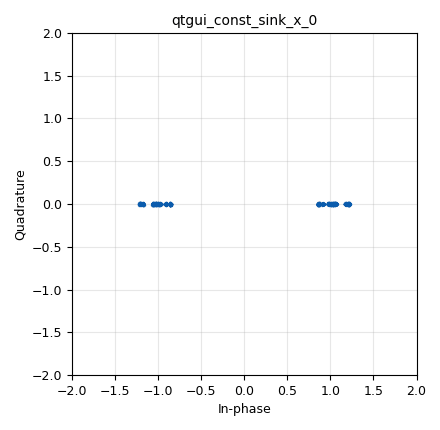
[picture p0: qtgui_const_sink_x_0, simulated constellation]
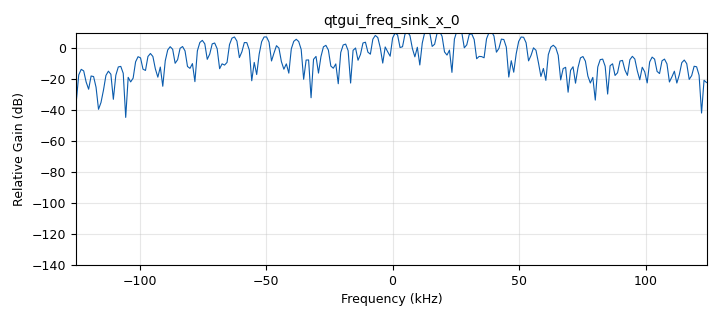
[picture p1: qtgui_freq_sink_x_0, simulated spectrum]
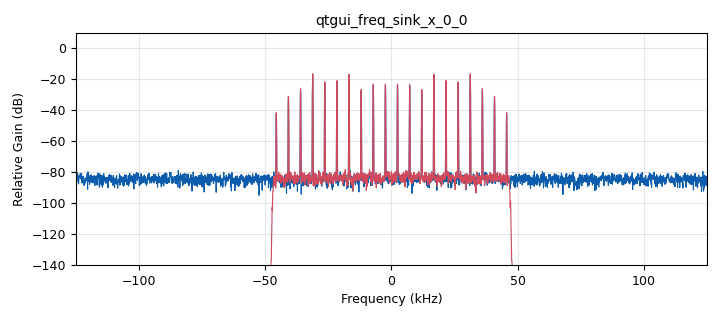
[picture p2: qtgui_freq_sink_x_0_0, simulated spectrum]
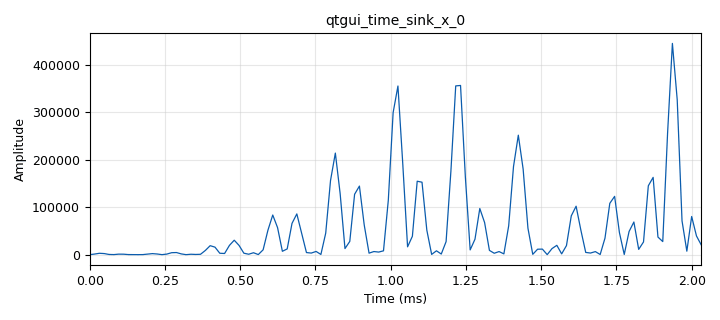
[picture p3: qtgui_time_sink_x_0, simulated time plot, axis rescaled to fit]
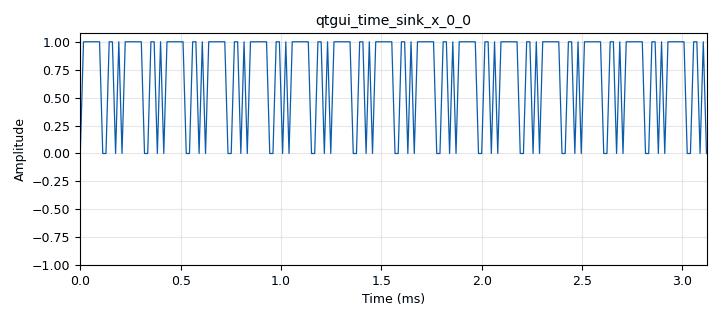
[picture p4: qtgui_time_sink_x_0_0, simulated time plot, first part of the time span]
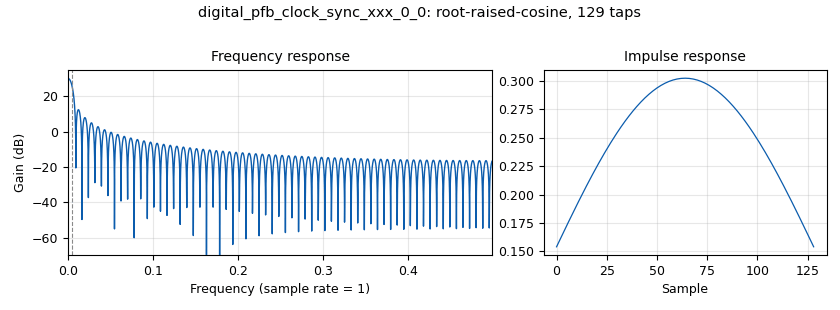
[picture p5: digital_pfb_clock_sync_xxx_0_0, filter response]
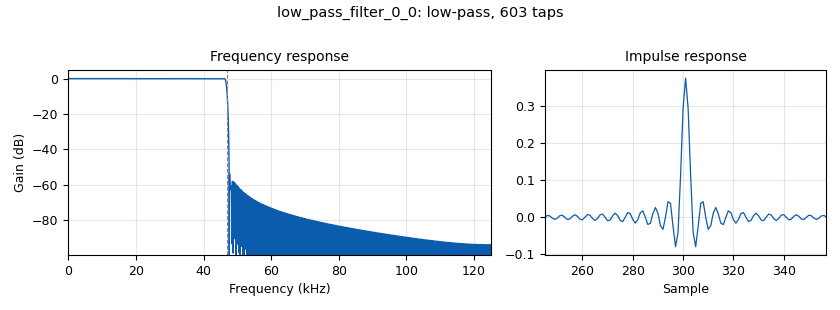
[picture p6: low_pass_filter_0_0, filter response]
<?xml version='1.0' encoding='utf-8'?>
<?grc format='1' created='3.7.12'?>
<flow_graph>
<block>
<key>options</key>
<param><key>id</key><value>barker_burst1</value></param>
<param><key>generate_options</key><value>qt_gui</value></param>
</block>
<block>
<key>variable</key>
<param><key>id</key><value>alpha</value></param>
<param><key>value</key><value>0.5</value></param>
</block>
<block>
<key>variable</key>
<param><key>id</key><value>b11</value></param>
<param><key>value</key><value>(1,1,1,-1,-1,-1,1,-1,-1,1,-1)</value></param>
</block>
<block>
<key>variable</key>
<param><key>id</key><value>b13</value></param>
<param><key>value</key><value>[1,1,1,1,1,-1,-1,1,1,-1,1,-1,1]</value></param>
</block>
<block>
<key>variable</key>
<param><key>id</key><value>b13_0</value></param>
<param><key>_enabled</key><value>0</value></param>
<param><key>value</key><value>[1,1,1,1,1,0,0,1,1,0,1,0,1]</value></param>
</block>
<block>
<key>variable</key>
<param><key>id</key><value>b2_1</value></param>
<param><key>value</key><value>(1,-1)</value></param>
</block>
<block>
<key>variable</key>
<param><key>id</key><value>b2_2</value></param>
<param><key>value</key><value>(1,1)</value></param>
</block>
<block>
<key>variable</key>
<param><key>id</key><value>b3</value></param>
<param><key>value</key><value>(1,1,-1)</value></param>
</block>
<block>
<key>variable</key>
<param><key>id</key><value>b4_1</value></param>
<param><key>value</key><value>(1,1,-1,1)</value></param>
</block>
<block>
<key>variable</key>
<param><key>id</key><value>b4_2</value></param>
<param><key>value</key><value>(1,1,1,-1)</value></param>
</block>
<block>
<key>variable</key>
<param><key>id</key><value>b5</value></param>
<param><key>value</key><value>(1,1,1,-1,1)</value></param>
</block>
<block>
<key>variable</key>
<param><key>id</key><value>b7</value></param>
<param><key>value</key><value>(1,1,1,-1,-1,1,-1)</value></param>
</block>
<block>
<key>variable</key>
<param><key>id</key><value>baud</value></param>
<param><key>value</key><value>samp_rate/samp_per_symb</value></param>
</block>
<block>
<key>variable_qtgui_entry</key>
<param><key>id</key><value>chan_delay</value></param>
<param><key>value</key><value>0</value></param>
<param><key>type</key><value>int</value></param>
</block>
<block>
<key>variable_qtgui_range</key>
<param><key>id</key><value>delay</value></param>
<param><key>value</key><value>0</value></param>
<param><key>orient</key><value>Qt.Horizontal</value></param>
<param><key>start</key><value>0</value></param>
<param><key>step</key><value>1</value></param>
<param><key>stop</key><value>10000</value></param>
<param><key>rangeType</key><value>int</value></param>
</block>
<block>
<key>variable</key>
<param><key>id</key><value>fft_size</value></param>
<param><key>value</key><value>256</value></param>
</block>
<block>
<key>variable_qtgui_range</key>
<param><key>id</key><value>noise_amp</value></param>
<param><key>value</key><value>0.01</value></param>
<param><key>orient</key><value>Qt.Horizontal</value></param>
<param><key>start</key><value>0</value></param>
<param><key>step</key><value>0.001</value></param>
<param><key>stop</key><value>1</value></param>
</block>
<block>
<key>variable_rrc_filter_taps</key>
<param><key>id</key><value>rrc_filter_taps</value></param>
<param><key>alpha</key><value>alpha</value></param>
<param><key>gain</key><value>32</value></param>
<param><key>ntaps</key><value>samp_per_symb*32</value></param>
<param><key>samp_rate</key><value>1.0</value></param>
<param><key>sym_rate</key><value>1.0/(samp_per_symb*32)</value></param>
</block>
<block>
<key>variable</key>
<param><key>id</key><value>samp_per_symb</value></param>
<param><key>value</key><value>4</value></param>
</block>
<block>
<key>variable</key>
<param><key>id</key><value>samp_rate</value></param>
<param><key>value</key><value>250e3</value></param>
</block>
<block>
<key>analog_agc2_xx</key>
<param><key>id</key><value>analog_agc2_xx_0_0</value></param>
<param><key>attack_rate</key><value>1e-3</value></param>
<param><key>decay_rate</key><value>1e-2</value></param>
<param><key>gain</key><value>1.0</value></param>
<param><key>max_gain</key><value>65536</value></param>
<param><key>reference</key><value>1.0</value></param>
<param><key>type</key><value>complex</value></param>
</block>
<block>
<key>analog_const_source_x</key>
<param><key>id</key><value>analog_const_source_x_0</value></param>
<param><key>const</key><value>0</value></param>
<param><key>_enabled</key><value>0</value></param>
<param><key>type</key><value>float</value></param>
</block>
<block>
<key>analog_const_source_x</key>
<param><key>id</key><value>analog_const_source_x_1</value></param>
<param><key>const</key><value>1</value></param>
<param><key>_enabled</key><value>0</value></param>
<param><key>type</key><value>short</value></param>
</block>
<block>
<key>analog_fastnoise_source_x</key>
<param><key>id</key><value>analog_fastnoise_source_x_0</value></param>
<param><key>amp</key><value>noise_amp</value></param>
<param><key>noise_type</key><value>analog.GR_GAUSSIAN</value></param>
<param><key>type</key><value>complex</value></param>
<param><key>seed</key><value>0</value></param>
<param><key>samples</key><value>8192</value></param>
</block>
<block>
<key>blocks_add_xx</key>
<param><key>id</key><value>blocks_add_xx_1</value></param>
<param><key>type</key><value>complex</value></param>
</block>
<block>
<key>blocks_argmax_xx</key>
<param><key>id</key><value>blocks_argmax_xx_0</value></param>
<param><key>_enabled</key><value>0</value></param>
<param><key>type</key><value>float</value></param>
<param><key>num_inputs</key><value>1</value></param>
<param><key>vlen</key><value>fft_size</value></param>
</block>
<block>
<key>blocks_char_to_float</key>
<param><key>id</key><value>blocks_char_to_float_0</value></param>
<param><key>scale</key><value>1</value></param>
</block>
<block>
<key>blocks_complex_to_mag_squared</key>
<param><key>id</key><value>blocks_complex_to_mag_squared_0</value></param>
</block>
<block>
<key>blocks_complex_to_mag_squared</key>
<param><key>id</key><value>blocks_complex_to_mag_squared_0_0</value></param>
<param><key>_enabled</key><value>0</value></param>
<param><key>vlen</key><value>fft_size</value></param>
</block>
<block>
<key>blocks_delay</key>
<param><key>id</key><value>blocks_delay_0</value></param>
<param><key>delay</key><value>chan_delay</value></param>
<param><key>type</key><value>complex</value></param>
</block>
<block>
<key>blocks_delay</key>
<param><key>id</key><value>blocks_delay_0_0</value></param>
<param><key>delay</key><value>delay</value></param>
<param><key>type</key><value>complex</value></param>
</block>
<block>
<key>blocks_float_to_complex</key>
<param><key>id</key><value>blocks_float_to_complex_0</value></param>
<param><key>_enabled</key><value>0</value></param>
</block>
<block>
<key>blocks_multiply_conjugate_cc</key>
<param><key>id</key><value>blocks_multiply_conjugate_cc_0</value></param>
<param><key>vlen</key><value>fft_size</value></param>
</block>
<block>
<key>blocks_multiply_const_vxx</key>
<param><key>id</key><value>blocks_multiply_const_vxx_1</value></param>
<param><key>const</key><value>1.0/(baud)</value></param>
<param><key>_enabled</key><value>0</value></param>
<param><key>type</key><value>float</value></param>
</block>
<block>
<key>blocks_null_sink</key>
<param><key>id</key><value>blocks_null_sink_0</value></param>
<param><key>bus_conns</key><value>[[0,],]</value></param>
<param><key>_enabled</key><value>0</value></param>
<param><key>type</key><value>short</value></param>
</block>
<block>
<key>blocks_pack_k_bits_bb</key>
<param><key>id</key><value>blocks_pack_k_bits_bb_0</value></param>
<param><key>k</key><value>8</value></param>
</block>
<block>
<key>blocks_short_to_float</key>
<param><key>id</key><value>blocks_short_to_float_0</value></param>
<param><key>scale</key><value>1</value></param>
</block>
<block>
<key>blocks_short_to_float</key>
<param><key>id</key><value>blocks_short_to_float_1</value></param>
<param><key>_enabled</key><value>0</value></param>
<param><key>scale</key><value>1</value></param>
</block>
<block>
<key>blocks_short_to_float</key>
<param><key>id</key><value>blocks_short_to_float_2</value></param>
<param><key>_enabled</key><value>0</value></param>
<param><key>scale</key><value>1</value></param>
</block>
<block>
<key>blocks_stream_mux</key>
<param><key>id</key><value>blocks_stream_mux_0</value></param>
<param><key>_enabled</key><value>0</value></param>
<param><key>lengths</key><value>1000, 13</value></param>
<param><key>type</key><value>short</value></param>
</block>
<block>
<key>blocks_stream_to_vector</key>
<param><key>id</key><value>blocks_stream_to_vector_0</value></param>
<param><key>type</key><value>complex</value></param>
<param><key>num_items</key><value>fft_size</value></param>
</block>
<block>
<key>blocks_stream_to_vector</key>
<param><key>id</key><value>blocks_stream_to_vector_0_0</value></param>
<param><key>type</key><value>complex</value></param>
<param><key>num_items</key><value>fft_size</value></param>
</block>
<block>
<key>blocks_threshold_ff</key>
<param><key>id</key><value>blocks_threshold_ff_0</value></param>
<param><key>_enabled</key><value>0</value></param>
<param><key>high</key><value>-1</value></param>
<param><key>init</key><value>0</value></param>
<param><key>low</key><value>-3</value></param>
</block>
<block>
<key>blocks_throttle</key>
<param><key>id</key><value>blocks_throttle_0</value></param>
<param><key>samples_per_second</key><value>samp_rate</value></param>
<param><key>type</key><value>short</value></param>
</block>
<block>
<key>blocks_vector_insert_x</key>
<param><key>id</key><value>blocks_vector_insert_x_0</value></param>
<param><key>_enabled</key><value>0</value></param>
<param><key>offset</key><value>0</value></param>
<param><key>type</key><value>short</value></param>
<param><key>period</key><value>1</value></param>
<param><key>vector</key><value>b13</value></param>
</block>
<block>
<key>blocks_vector_source_x</key>
<param><key>id</key><value>blocks_vector_source_x_0_0</value></param>
<param><key>_enabled</key><value>0</value></param>
<param><key>type</key><value>short</value></param>
<param><key>repeat</key><value>True</value></param>
<param><key>vector</key><value>b13</value></param>
</block>
<block>
<key>blocks_vector_source_x</key>
<param><key>id</key><value>blocks_vector_source_x_0_0_0</value></param>
<param><key>type</key><value>short</value></param>
<param><key>repeat</key><value>True</value></param>
<param><key>vector</key><value>b13</value></param>
</block>
<block>
<key>blocks_vector_to_stream</key>
<param><key>id</key><value>blocks_vector_to_stream_0_0</value></param>
<param><key>type</key><value>complex</value></param>
<param><key>num_items</key><value>fft_size</value></param>
</block>
<block>
<key>blocks_vector_to_stream</key>
<param><key>id</key><value>blocks_vector_to_stream_0_0_0</value></param>
<param><key>type</key><value>complex</value></param>
<param><key>num_items</key><value>fft_size</value></param>
</block>
<block>
<key>digital_binary_slicer_fb</key>
<param><key>id</key><value>digital_binary_slicer_fb_0</value></param>
</block>
<block>
<key>digital_binary_slicer_fb</key>
<param><key>id</key><value>digital_binary_slicer_fb_1</value></param>
<param><key>_enabled</key><value>0</value></param>
</block>
<block>
<key>digital_costas_loop_cc</key>
<param><key>id</key><value>digital_costas_loop_cc_0</value></param>
<param><key>w</key><value>math.pi*2/100</value></param>
<param><key>order</key><value>2</value></param>
</block>
<block>
<key>digital_costas_loop_cc</key>
<param><key>id</key><value>digital_costas_loop_cc_0_0</value></param>
<param><key>w</key><value>math.pi*2/100</value></param>
<param><key>order</key><value>2</value></param>
</block>
<block>
<key>digital_diff_decoder_bb</key>
<param><key>id</key><value>digital_diff_decoder_bb_0</value></param>
<param><key>_enabled</key><value>0</value></param>
<param><key>modulus</key><value>2</value></param>
</block>
<block>
<key>digital_dxpsk_mod</key>
<param><key>id</key><value>digital_dxpsk_mod_0</value></param>
<param><key>excess_bw</key><value>0.5</value></param>
<param><key>mod_code</key><value>"gray"</value></param>
<param><key>log</key><value>False</value></param>
<param><key>samples_per_symbol</key><value>samp_per_symb</value></param>
<param><key>type</key><value>dbpsk</value></param>
<param><key>verbose</key><value>False</value></param>
</block>
<block>
<key>digital_map_bb</key>
<param><key>id</key><value>digital_map_bb_0</value></param>
<param><key>_enabled</key><value>2</value></param>
<param><key>map</key><value>[-1,1]</value></param>
</block>
<block>
<key>digital_pfb_clock_sync_xxx</key>
<param><key>id</key><value>digital_pfb_clock_sync_xxx_0_0</value></param>
<param><key>filter_size</key><value>32</value></param>
<param><key>init_phase</key><value>16</value></param>
<param><key>loop_bw</key><value>math.pi*2/100</value></param>
<param><key>max_dev</key><value>1.5</value></param>
<param><key>osps</key><value>1</value></param>
<param><key>sps</key><value>samp_per_symb</value></param>
<param><key>taps</key><value>rrc_filter_taps</value></param>
<param><key>type</key><value>ccf</value></param>
</block>
<block>
<key>fft_vxx</key>
<param><key>id</key><value>fft_vxx_0</value></param>
<param><key>fft_size</key><value>fft_size</value></param>
<param><key>forward</key><value>True</value></param>
<param><key>type</key><value>complex</value></param>
<param><key>shift</key><value>True</value></param>
<param><key>window</key><value>window.blackmanharris(fft_size)</value></param>
</block>
<block>
<key>fft_vxx</key>
<param><key>id</key><value>fft_vxx_0_0</value></param>
<param><key>fft_size</key><value>fft_size</value></param>
<param><key>forward</key><value>True</value></param>
<param><key>type</key><value>complex</value></param>
<param><key>shift</key><value>True</value></param>
<param><key>window</key><value>window.blackmanharris(fft_size)</value></param>
</block>
<block>
<key>fft_vxx</key>
<param><key>id</key><value>fft_vxx_0_0_0</value></param>
<param><key>fft_size</key><value>fft_size</value></param>
<param><key>forward</key><value>True</value></param>
<param><key>type</key><value>complex</value></param>
<param><key>shift</key><value>False</value></param>
<param><key>window</key><value>window.blackmanharris(fft_size)</value></param>
</block>
<block>
<key>import</key>
<param><key>id</key><value>import_0_0</value></param>
<param><key>import</key><value>import pmt,struct,numpy,math ; from datetime import datetime as dt; import string</value></param>
</block>
<block>
<key>low_pass_filter</key>
<param><key>id</key><value>low_pass_filter_0_0</value></param>
<param><key>cutoff_freq</key><value>(baud *(1+alpha) )/2</value></param>
<param><key>decim</key><value>1</value></param>
<param><key>type</key><value>fir_filter_ccf</value></param>
<param><key>gain</key><value>1</value></param>
<param><key>samp_rate</key><value>samp_rate</value></param>
<param><key>width</key><value>1000</value></param>
<param><key>win</key><value>firdes.WIN_HAMMING</value></param>
</block>
<block>
<key>mapper_demapper_soft</key>
<param><key>id</key><value>mapper_demapper_soft_0</value></param>
<param><key>_enabled</key><value>0</value></param>
<param><key>modtype</key><value>mapper.BPSK</value></param>
<param><key>symbol_values</key><value>[0,1]</value></param>
</block>
<block>
<key>qtgui_const_sink_x</key>
<param><key>id</key><value>qtgui_const_sink_x_0</value></param>
<param><key>gui_hint</key><value>0,4,4,4</value></param>
<param><key>marker1</key><value>9</value></param>
<param><key>width1</key><value>0</value></param>
<param><key>size</key><value>1024</value></param>
<param><key>type</key><value>complex</value></param>
</block>
<block>
<key>qtgui_freq_sink_x</key>
<param><key>id</key><value>qtgui_freq_sink_x_0</value></param>
<param><key>bw</key><value>samp_rate</value></param>
<param><key>fc</key><value>0</value></param>
<param><key>fftsize</key><value>fft_size</value></param>
<param><key>grid</key><value>True</value></param>
<param><key>showports</key><value>True</value></param>
<param><key>type</key><value>complex</value></param>
<param><key>wintype</key><value>firdes.WIN_BLACKMAN_hARRIS</value></param>
</block>
<block>
<key>qtgui_freq_sink_x</key>
<param><key>id</key><value>qtgui_freq_sink_x_0_0</value></param>
<param><key>average</key><value>0.2</value></param>
<param><key>bw</key><value>samp_rate </value></param>
<param><key>fc</key><value>0</value></param>
<param><key>fftsize</key><value>1024*4</value></param>
<param><key>gui_hint</key><value>0,0,4,4</value></param>
<param><key>grid</key><value>True</value></param>
<param><key>legend</key><value>False</value></param>
<param><key>label1</key><value>pre-d</value></param>
<param><key>label2</key><value>post</value></param>
<param><key>nconnections</key><value>2</value></param>
<param><key>showports</key><value>True</value></param>
<param><key>type</key><value>complex</value></param>
<param><key>update_time</key><value>0.0010</value></param>
<param><key>wintype</key><value>firdes.WIN_BLACKMAN_hARRIS</value></param>
</block>
<block>
<key>qtgui_number_sink</key>
<param><key>id</key><value>qtgui_number_sink_0</value></param>
<param><key>_enabled</key><value>0</value></param>
<param><key>graph_type</key><value>qtgui.NUM_GRAPH_NONE</value></param>
<param><key>type</key><value>float</value></param>
</block>
<block>
<key>qtgui_time_sink_x</key>
<param><key>id</key><value>qtgui_time_sink_x_0</value></param>
<param><key>color1</key><value>"blue"</value></param>
<param><key>label1</key><value></value></param>
<param><key>size</key><value>fft_size/2</value></param>
<param><key>srate</key><value>baud</value></param>
<param><key>type</key><value>float</value></param>
</block>
<block>
<key>qtgui_time_sink_x</key>
<param><key>id</key><value>qtgui_time_sink_x_0_0</value></param>
<param><key>color1</key><value>"blue"</value></param>
<param><key>label1</key><value></value></param>
<param><key>size</key><value>1024</value></param>
<param><key>srate</key><value>baud</value></param>
<param><key>type</key><value>float</value></param>
</block>
<block>
<key>qtgui_time_sink_x</key>
<param><key>id</key><value>qtgui_time_sink_x_1</value></param>
<param><key>_enabled</key><value>0</value></param>
<param><key>color1</key><value>"blue"</value></param>
<param><key>label1</key><value></value></param>
<param><key>size</key><value>1024</value></param>
<param><key>srate</key><value>samp_rate</value></param>
<param><key>type</key><value>float</value></param>
</block>
<block>
<key>root_raised_cosine_filter</key>
<param><key>id</key><value>root_raised_cosine_filter_0_0</value></param>
<param><key>alpha</key><value>alpha</value></param>
<param><key>_enabled</key><value>0</value></param>
<param><key>type</key><value>interp_fir_filter_ccf</value></param>
<param><key>gain</key><value>1</value></param>
<param><key>interp</key><value>samp_per_symb</value></param>
<param><key>ntaps</key><value>30</value></param>
<param><key>samp_rate</key><value>samp_rate</value></param>
<param><key>sym_rate</key><value>baud</value></param>
</block>
<block>
<key>virtual_sink</key>
<param><key>id</key><value>virtual_sink_0</value></param>
<param><key>stream_id</key><value>t2b</value></param>
</block>
<block>
<key>virtual_sink</key>
<param><key>id</key><value>virtual_sink_0_0</value></param>
<param><key>stream_id</key><value>pre-process</value></param>
</block>
<block>
<key>virtual_sink</key>
<param><key>id</key><value>virtual_sink_0_1</value></param>
<param><key>stream_id</key><value>channel</value></param>
</block>
<block>
<key>virtual_sink</key>
<param><key>id</key><value>virtual_sink_0_1_0</value></param>
<param><key>stream_id</key><value>symb_tx</value></param>
</block>
<block>
<key>virtual_sink</key>
<param><key>id</key><value>virtual_sink_0_1_0_0</value></param>
<param><key>stream_id</key><value>symb_rx</value></param>
</block>
<block>
<key>virtual_source</key>
<param><key>id</key><value>virtual_source_0_0</value></param>
<param><key>stream_id</key><value>pre-process</value></param>
</block>
<block>
<key>virtual_source</key>
<param><key>id</key><value>virtual_source_0_0_0</value></param>
<param><key>stream_id</key><value>symb_tx</value></param>
</block>
<block>
<key>virtual_source</key>
<param><key>id</key><value>virtual_source_0_0_0_1</value></param>
<param><key>stream_id</key><value>symb_rx</value></param>
</block>
<block>
<key>virtual_source</key>
<param><key>id</key><value>virtual_source_0_1</value></param>
<param><key>stream_id</key><value>channel</value></param>
</block>
<block>
<key>virtual_source</key>
<param><key>id</key><value>virtual_source_0_2</value></param>
<param><key>stream_id</key><value>t2b</value></param>
</block>
<connection><source_block_id>analog_agc2_xx_0_0</source_block_id><sink_block_id>digital_costas_loop_cc_0_0</sink_block_id><source_key>0</source_key><sink_key>0</sink_key></connection>
<connection><source_block_id>analog_const_source_x_0</source_block_id><sink_block_id>blocks_float_to_complex_0</sink_block_id><source_key>0</source_key><sink_key>0</sink_key></connection>
<connection><source_block_id>analog_const_source_x_1</source_block_id><sink_block_id>blocks_stream_mux_0</sink_block_id><source_key>0</source_key><sink_key>0</sink_key></connection>
<connection><source_block_id>analog_const_source_x_1</source_block_id><sink_block_id>blocks_vector_insert_x_0</sink_block_id><source_key>0</source_key><sink_key>0</sink_key></connection>
<connection><source_block_id>analog_fastnoise_source_x_0</source_block_id><sink_block_id>blocks_add_xx_1</sink_block_id><source_key>0</source_key><sink_key>0</sink_key></connection>
<connection><source_block_id>blocks_add_xx_1</source_block_id><sink_block_id>blocks_delay_0</sink_block_id><source_key>0</source_key><sink_key>0</sink_key></connection>
<connection><source_block_id>blocks_argmax_xx_0</source_block_id><sink_block_id>blocks_null_sink_0</sink_block_id><source_key>1</source_key><sink_key>0</sink_key></connection>
<connection><source_block_id>blocks_argmax_xx_0</source_block_id><sink_block_id>blocks_short_to_float_1</sink_block_id><source_key>0</source_key><sink_key>0</sink_key></connection>
<connection><source_block_id>blocks_char_to_float_0</source_block_id><sink_block_id>qtgui_time_sink_x_0_0</sink_block_id><source_key>0</source_key><sink_key>0</sink_key></connection>
<connection><source_block_id>blocks_complex_to_mag_squared_0</source_block_id><sink_block_id>qtgui_time_sink_x_0</sink_block_id><source_key>0</source_key><sink_key>0</sink_key></connection>
<connection><source_block_id>blocks_complex_to_mag_squared_0_0</source_block_id><sink_block_id>blocks_argmax_xx_0</sink_block_id><source_key>0</source_key><sink_key>0</sink_key></connection>
<connection><source_block_id>blocks_delay_0</source_block_id><sink_block_id>virtual_sink_0_1</sink_block_id><source_key>0</source_key><sink_key>0</sink_key></connection>
<connection><source_block_id>blocks_delay_0_0</source_block_id><sink_block_id>blocks_stream_to_vector_0</sink_block_id><source_key>0</source_key><sink_key>0</sink_key></connection>
<connection><source_block_id>blocks_float_to_complex_0</source_block_id><sink_block_id>root_raised_cosine_filter_0_0</sink_block_id><source_key>0</source_key><sink_key>0</sink_key></connection>
<connection><source_block_id>blocks_float_to_complex_0</source_block_id><sink_block_id>virtual_sink_0_1_0</sink_block_id><source_key>0</source_key><sink_key>0</sink_key></connection>
<connection><source_block_id>blocks_multiply_conjugate_cc_0</source_block_id><sink_block_id>blocks_vector_to_stream_0_0_0</sink_block_id><source_key>0</source_key><sink_key>0</sink_key></connection>
<connection><source_block_id>blocks_multiply_conjugate_cc_0</source_block_id><sink_block_id>fft_vxx_0_0_0</sink_block_id><source_key>0</source_key><sink_key>0</sink_key></connection>
<connection><source_block_id>blocks_multiply_const_vxx_1</source_block_id><sink_block_id>qtgui_number_sink_0</sink_block_id><source_key>0</source_key><sink_key>0</sink_key></connection>
<connection><source_block_id>blocks_pack_k_bits_bb_0</source_block_id><sink_block_id>digital_dxpsk_mod_0</sink_block_id><source_key>0</source_key><sink_key>0</sink_key></connection>
<connection><source_block_id>blocks_short_to_float_0</source_block_id><sink_block_id>digital_binary_slicer_fb_0</sink_block_id><source_key>0</source_key><sink_key>0</sink_key></connection>
<connection><source_block_id>blocks_short_to_float_1</source_block_id><sink_block_id>blocks_multiply_const_vxx_1</sink_block_id><source_key>0</source_key><sink_key>0</sink_key></connection>
<connection><source_block_id>blocks_short_to_float_2</source_block_id><sink_block_id>blocks_threshold_ff_0</sink_block_id><source_key>0</source_key><sink_key>0</sink_key></connection>
<connection><source_block_id>blocks_stream_mux_0</source_block_id><sink_block_id>blocks_short_to_float_2</sink_block_id><source_key>0</source_key><sink_key>0</sink_key></connection>
<connection><source_block_id>blocks_stream_mux_0</source_block_id><sink_block_id>blocks_throttle_0</sink_block_id><source_key>0</source_key><sink_key>0</sink_key></connection>
<connection><source_block_id>blocks_stream_to_vector_0</source_block_id><sink_block_id>fft_vxx_0</sink_block_id><source_key>0</source_key><sink_key>0</sink_key></connection>
<connection><source_block_id>blocks_stream_to_vector_0_0</source_block_id><sink_block_id>fft_vxx_0_0</sink_block_id><source_key>0</source_key><sink_key>0</sink_key></connection>
<connection><source_block_id>blocks_threshold_ff_0</source_block_id><sink_block_id>qtgui_time_sink_x_1</sink_block_id><source_key>0</source_key><sink_key>0</sink_key></connection>
<connection><source_block_id>blocks_throttle_0</source_block_id><sink_block_id>blocks_short_to_float_0</sink_block_id><source_key>0</source_key><sink_key>0</sink_key></connection>
<connection><source_block_id>blocks_vector_insert_x_0</source_block_id><sink_block_id>blocks_throttle_0</sink_block_id><source_key>0</source_key><sink_key>0</sink_key></connection>
<connection><source_block_id>blocks_vector_source_x_0_0</source_block_id><sink_block_id>blocks_stream_mux_0</sink_block_id><source_key>0</source_key><sink_key>1</sink_key></connection>
<connection><source_block_id>blocks_vector_source_x_0_0_0</source_block_id><sink_block_id>blocks_throttle_0</sink_block_id><source_key>0</source_key><sink_key>0</sink_key></connection>
<connection><source_block_id>blocks_vector_to_stream_0_0</source_block_id><sink_block_id>blocks_complex_to_mag_squared_0</sink_block_id><source_key>0</source_key><sink_key>0</sink_key></connection>
<connection><source_block_id>blocks_vector_to_stream_0_0_0</source_block_id><sink_block_id>qtgui_freq_sink_x_0</sink_block_id><source_key>0</source_key><sink_key>0</sink_key></connection>
<connection><source_block_id>digital_binary_slicer_fb_0</source_block_id><sink_block_id>blocks_char_to_float_0</sink_block_id><source_key>0</source_key><sink_key>0</sink_key></connection>
<connection><source_block_id>digital_binary_slicer_fb_0</source_block_id><sink_block_id>digital_map_bb_0</sink_block_id><source_key>0</source_key><sink_key>0</sink_key></connection>
<connection><source_block_id>digital_binary_slicer_fb_1</source_block_id><sink_block_id>digital_diff_decoder_bb_0</sink_block_id><source_key>0</source_key><sink_key>0</sink_key></connection>
<connection><source_block_id>digital_costas_loop_cc_0</source_block_id><sink_block_id>mapper_demapper_soft_0</sink_block_id><source_key>0</source_key><sink_key>0</sink_key></connection>
<connection><source_block_id>digital_costas_loop_cc_0</source_block_id><sink_block_id>qtgui_const_sink_x_0</sink_block_id><source_key>0</source_key><sink_key>0</sink_key></connection>
<connection><source_block_id>digital_costas_loop_cc_0</source_block_id><sink_block_id>virtual_sink_0_1_0_0</sink_block_id><source_key>0</source_key><sink_key>0</sink_key></connection>
<connection><source_block_id>digital_costas_loop_cc_0_0</source_block_id><sink_block_id>virtual_sink_0_0</sink_block_id><source_key>0</source_key><sink_key>0</sink_key></connection>
<connection><source_block_id>digital_dxpsk_mod_0</source_block_id><sink_block_id>blocks_add_xx_1</sink_block_id><source_key>0</source_key><sink_key>1</sink_key></connection>
<connection><source_block_id>digital_dxpsk_mod_0</source_block_id><sink_block_id>virtual_sink_0_1_0</sink_block_id><source_key>0</source_key><sink_key>0</sink_key></connection>
<connection><source_block_id>digital_map_bb_0</source_block_id><sink_block_id>virtual_sink_0</sink_block_id><source_key>0</source_key><sink_key>0</sink_key></connection>
<connection><source_block_id>digital_pfb_clock_sync_xxx_0_0</source_block_id><sink_block_id>digital_costas_loop_cc_0</sink_block_id><source_key>0</source_key><sink_key>0</sink_key></connection>
<connection><source_block_id>fft_vxx_0</source_block_id><sink_block_id>blocks_multiply_conjugate_cc_0</sink_block_id><source_key>0</source_key><sink_key>0</sink_key></connection>
<connection><source_block_id>fft_vxx_0_0</source_block_id><sink_block_id>blocks_multiply_conjugate_cc_0</sink_block_id><source_key>0</source_key><sink_key>1</sink_key></connection>
<connection><source_block_id>fft_vxx_0_0_0</source_block_id><sink_block_id>blocks_complex_to_mag_squared_0_0</sink_block_id><source_key>0</source_key><sink_key>0</sink_key></connection>
<connection><source_block_id>fft_vxx_0_0_0</source_block_id><sink_block_id>blocks_vector_to_stream_0_0</sink_block_id><source_key>0</source_key><sink_key>0</sink_key></connection>
<connection><source_block_id>low_pass_filter_0_0</source_block_id><sink_block_id>digital_pfb_clock_sync_xxx_0_0</sink_block_id><source_key>0</source_key><sink_key>0</sink_key></connection>
<connection><source_block_id>low_pass_filter_0_0</source_block_id><sink_block_id>qtgui_freq_sink_x_0_0</sink_block_id><source_key>0</source_key><sink_key>1</sink_key></connection>
<connection><source_block_id>mapper_demapper_soft_0</source_block_id><sink_block_id>digital_binary_slicer_fb_1</sink_block_id><source_key>0</source_key><sink_key>0</sink_key></connection>
<connection><source_block_id>root_raised_cosine_filter_0_0</source_block_id><sink_block_id>blocks_add_xx_1</sink_block_id><source_key>0</source_key><sink_key>1</sink_key></connection>
<connection><source_block_id>virtual_source_0_0</source_block_id><sink_block_id>low_pass_filter_0_0</sink_block_id><source_key>0</source_key><sink_key>0</sink_key></connection>
<connection><source_block_id>virtual_source_0_0_0</source_block_id><sink_block_id>blocks_delay_0_0</sink_block_id><source_key>0</source_key><sink_key>0</sink_key></connection>
<connection><source_block_id>virtual_source_0_0_0_1</source_block_id><sink_block_id>blocks_stream_to_vector_0_0</sink_block_id><source_key>0</source_key><sink_key>0</sink_key></connection>
<connection><source_block_id>virtual_source_0_1</source_block_id><sink_block_id>analog_agc2_xx_0_0</sink_block_id><source_key>0</source_key><sink_key>0</sink_key></connection>
<connection><source_block_id>virtual_source_0_1</source_block_id><sink_block_id>qtgui_freq_sink_x_0_0</sink_block_id><source_key>0</source_key><sink_key>0</sink_key></connection>
<connection><source_block_id>virtual_source_0_2</source_block_id><sink_block_id>blocks_pack_k_bits_bb_0</sink_block_id><source_key>0</source_key><sink_key>0</sink_key></connection>
</flow_graph>
